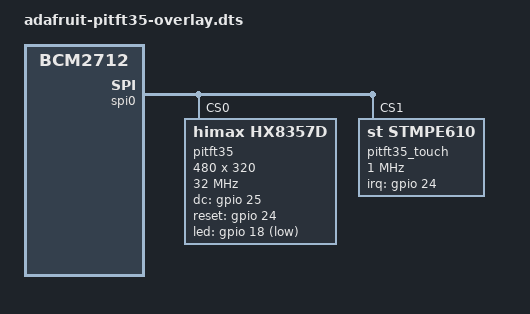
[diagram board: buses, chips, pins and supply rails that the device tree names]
/*
 * Adafruit PiTFT 3.5" (HX8357D) Display Overlay
 * 480x320 resolution with resistive touch
 */

/dts-v1/;
/plugin/;

/ {
    compatible = "brcm,bcm2712";
    
    fragment@0 {
        target = <&spidev0>;
        __overlay__ {
            status = "disabled";
        };
    };
    
    fragment@1 {
        target = <&spidev1>;
        __overlay__ {
            status = "disabled";
        };
    };
    
    fragment@2 {
        target = <&spi0>;
        __overlay__ {
            status = "okay";
            #address-cells = <1>;
            #size-cells = <0>;
            
            pitft35: pitft35@0 {
                compatible = "himax,hx8357d";
                reg = <0>;
                spi-max-frequency = <32000000>;
                
                rotate = <90>;
                fps = <30>;
                buswidth = <8>;
                
                dc-gpios = <&gpio 25 0>;
                reset-gpios = <&gpio 24 0>;
                led-gpios = <&gpio 18 1>;
                
                width = <480>;
                height = <320>;
            };
            
            /* STMPE610 Touch Controller */
            pitft35_touch: pitft35_touch@1 {
                compatible = "st,stmpe610";
                reg = <1>;
                spi-max-frequency = <1000000>;
                
                interrupt-parent = <&gpio>;
                interrupts = <24 2>;
                
                st,sample-time = <4>;
                st,mod-12b = <1>;
                st,ref-sel = <0>;
                st,adc-freq = <1>;
                st,ave-ctrl = <3>;
                st,touch-det-delay = <3>;
                st,settling = <4>;
                st,fraction-z = <7>;
                st,i-drive = <1>;
            };
        };
    };
    
    fragment@3 {
        target = <&gpio>;
        __overlay__ {
            pitft35_pins: pitft35_pins {
                brcm,pins = <18 24 25>;
                brcm,function = <1 0 1>;
                brcm,pull = <0 2 0>;
            };
        };
    };
    
    __overrides__ {
        speed = <&pitft35>,"spi-max-frequency:0";
        rotate = <&pitft35>,"rotate:0";
        fps = <&pitft35>,"fps:0";
    };
};
